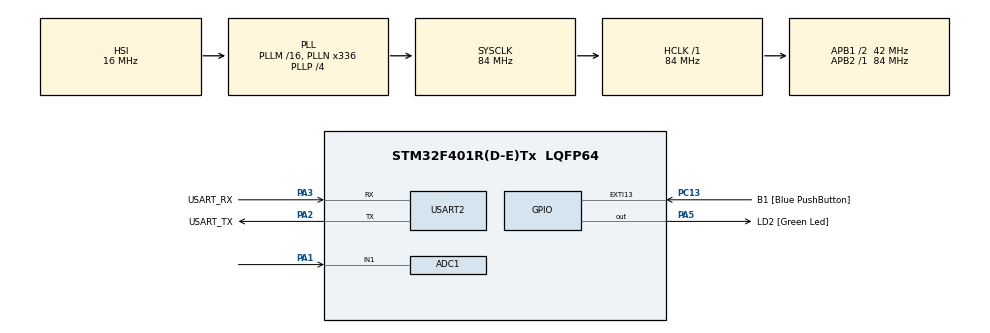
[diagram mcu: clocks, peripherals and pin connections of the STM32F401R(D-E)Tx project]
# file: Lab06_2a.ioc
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ADC1.Channel-0\#ChannelRegularConversion=ADC_CHANNEL_1
ADC1.NbrOfConversionFlag=1
ADC1.Rank-0\#ChannelRegularConversion=1
ADC1.SamplingTime-0\#ChannelRegularConversion=ADC_SAMPLETIME_480CYCLES
ADC1.master=1
Dma.Request0=USART2_TX
Dma.USART2_TX.0.Direction=DMA_MEMORY_TO_PERIPH
Dma.USART2_TX.0.FIFOMode=DMA_FIFOMODE_DISABLE
Dma.USART2_TX.0.Instance=DMA1_Stream6
Dma.USART2_TX.0.MemDataAlignment=DMA_MDATAALIGN_BYTE
Dma.USART2_TX.0.MemInc=DMA_MINC_ENABLE
Dma.USART2_TX.0.Mode=DMA_NORMAL
Dma.USART2_TX.0.PeriphDataAlignment=DMA_PDATAALIGN_BYTE
Dma.USART2_TX.0.PeriphInc=DMA_PINC_DISABLE
Dma.USART2_TX.0.Priority=DMA_PRIORITY_LOW
Mcu.Family=STM32F4
Mcu.Name=STM32F401R(D-E)Tx
Mcu.Package=LQFP64
NVIC.ADC_IRQn=true\:0\:0\:false\:false\:true\:true\:true\:true
NVIC.DMA1_Stream6_IRQn=true\:0\:0\:false\:false\:true\:false\:true\:true
NVIC.PriorityGroup=NVIC_PRIORITYGROUP_4
NVIC.TIM2_IRQn=true\:0\:0\:false\:false\:true\:true\:true\:true
NVIC.USART2_IRQn=true\:0\:0\:false\:false\:true\:true\:true\:true
PA1.Signal=ADCx_IN1
PA13.GPIO_Label=TMS
PA13.Mode=Trace_Asynchronous_SW
PA13.Signal=SYS_JTMS-SWDIO
PA14.GPIO_Label=TCK
PA14.Mode=Trace_Asynchronous_SW
PA14.Signal=SYS_JTCK-SWCLK
PA2.GPIO_Label=USART_TX
PA2.GPIO_Mode=GPIO_MODE_AF_PP
PA2.GPIO_PuPd=GPIO_NOPULL
PA2.GPIO_Speed=GPIO_SPEED_FREQ_LOW
PA2.Mode=Asynchronous
PA2.Signal=USART2_TX
PA3.GPIO_Label=USART_RX
PA3.GPIO_Mode=GPIO_MODE_AF_PP
PA3.GPIO_PuPd=GPIO_NOPULL
PA3.GPIO_Speed=GPIO_SPEED_FREQ_LOW
PA3.Mode=Asynchronous
PA3.Signal=USART2_RX
PA5.GPIO_Label=LD2 [Green Led]
PA5.GPIO_Mode=GPIO_MODE_OUTPUT_PP
PA5.GPIO_PuPd=GPIO_NOPULL
PA5.GPIO_Speed=GPIO_SPEED_FREQ_LOW
PA5.Signal=GPIO_Output
PB3.GPIO_Label=SWO
PB3.Mode=Trace_Asynchronous_SW
PB3.Signal=SYS_JTDO-SWO
PC13-ANTI_TAMP.GPIO_Label=B1 [Blue PushButton]
PC13-ANTI_TAMP.GPIO_ModeDefaultEXTI=GPIO_MODE_IT_FALLING
PC13-ANTI_TAMP.GPIO_PuPd=GPIO_NOPULL
PC13-ANTI_TAMP.Signal=GPXTI13
PC14-OSC32_IN.Mode=LSE-External-Oscillator
PC14-OSC32_IN.Signal=RCC_OSC32_IN
PC15-OSC32_OUT.Mode=LSE-External-Oscillator
PC15-OSC32_OUT.Signal=RCC_OSC32_OUT
PH0\ -\ OSC_IN.Mode=HSE-External-Clock-Source
PH0\ -\ OSC_IN.Signal=RCC_OSC_IN
PH1\ -\ OSC_OUT.Mode=HSE-External-Clock-Source
PH1\ -\ OSC_OUT.Signal=RCC_OSC_OUT
ProjectManager.HeapSize=0x200
ProjectManager.StackSize=0x400
ProjectManager.TargetToolchain=STM32CubeIDE
RCC.48MHZClocksFreq_Value=48000000
RCC.AHBFreq_Value=84000000
RCC.APB1CLKDivider=RCC_HCLK_DIV2
RCC.APB1Freq_Value=42000000
RCC.APB1TimFreq_Value=84000000
RCC.APB2Freq_Value=84000000
RCC.APB2TimFreq_Value=84000000
RCC.CortexFreq_Value=84000000
RCC.HCLKFreq_Value=84000000
RCC.HSE_VALUE=8000000
RCC.HSI_VALUE=16000000
RCC.PLLN=336
RCC.PLLP=RCC_PLLP_DIV4
RCC.PLLQ=7
RCC.SYSCLKFreq_VALUE=84000000
RCC.SYSCLKSource=RCC_SYSCLKSOURCE_PLLCLK
RCC.VCOOutputFreq_Value=336000000
SH.ADCx_IN1.0=ADC1_IN1,IN1
TIM2.Period=839999
TIM2.Prescaler=99
USART2.VirtualMode=VM_ASYNC
VP_TIM2_VS_ClockSourceINT.Mode=Internal
board=NUCLEO-F401RE

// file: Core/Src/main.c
/* USER CODE BEGIN Header */
/**
  ******************************************************************************
  * @file           : main.c
  * @brief          : Main program body
  ******************************************************************************
  * @attention
  *
  * Copyright (c) 2026 STMicroelectronics.
  * All rights reserved.
  *
  * This software is licensed under terms that can be found in the LICENSE file
  * in the root directory of this software component.
  * If no LICENSE file comes with this software, it is provided AS-IS.
  *
  ******************************************************************************
  */
/* USER CODE END Header */
#include "main.h"

/* USER CODE BEGIN Includes */
#include "stdio.h"
#include "string.h"

/* USER CODE END Includes */

ADC_HandleTypeDef hadc1;

TIM_HandleTypeDef htim2;

UART_HandleTypeDef huart2;
DMA_HandleTypeDef hdma_usart2_tx;

/* USER CODE BEGIN PV */
uint32_t adc_value=0;
float voltage=0.0;
uint8_t tx_buf[32];
int len;
/* USER CODE END PV */

void SystemClock_Config(void);
static void MX_GPIO_Init(void);
static void MX_DMA_Init(void);
static void MX_USART2_UART_Init(void);
static void MX_ADC1_Init(void);
static void MX_TIM2_Init(void);

/* USER CODE BEGIN 0 */
void HAL_TIM_PeriodElapsedCallback(TIM_HandleTypeDef *htim)
{
	if(htim->Instance == TIM2){
		len = sprintf((char*)tx_buf, "Potentiometer: %.2f V\r\n", voltage);
		HAL_UART_Transmit_DMA(&huart2, tx_buf, len);

		// Riarmare l'ADC
		HAL_ADC_Start_IT(&hadc1);
	}
}

void HAL_ADC_ConvCpltCallback(ADC_HandleTypeDef *hadc)
{
    // Quando arriva l'EoC aggiorniamo il valore
	adc_value = HAL_ADC_GetValue(hadc);
	voltage = ((float)adc_value * 3.3f) / 4095.0f;
}

/* USER CODE END 0 */

int main(void)
{

  /* MCU Configuration--------------------------------------------------------*/

  /* Reset of all peripherals, Initializes the Flash interface and the Systick. */
  HAL_Init();

  /* Configure the system clock */
  SystemClock_Config();

  /* Initialize all configured peripherals */
  MX_GPIO_Init();
  MX_DMA_Init();
  MX_USART2_UART_Init();
  MX_ADC1_Init();
  MX_TIM2_Init();
  /* USER CODE BEGIN 2 */
  HAL_TIM_Base_Start_IT(&htim2);
  HAL_ADC_Start_IT(&hadc1);

  /* USER CODE END 2 */

  /* Infinite loop */
  while (1)
  {

  }
}

void SystemClock_Config(void)
{
  RCC_OscInitTypeDef RCC_OscInitStruct = {0};
  RCC_ClkInitTypeDef RCC_ClkInitStruct = {0};

  /** Configure the main internal regulator output voltage
  */
  __HAL_RCC_PWR_CLK_ENABLE();
  __HAL_PWR_VOLTAGESCALING_CONFIG(PWR_REGULATOR_VOLTAGE_SCALE2);

  /** Initializes the RCC Oscillators according to the specified parameters
  * in the RCC_OscInitTypeDef structure.
  */
  RCC_OscInitStruct.OscillatorType = RCC_OSCILLATORTYPE_HSI;
  RCC_OscInitStruct.HSIState = RCC_HSI_ON;
  RCC_OscInitStruct.HSICalibrationValue = RCC_HSICALIBRATION_DEFAULT;
  RCC_OscInitStruct.PLL.PLLState = RCC_PLL_ON;
  RCC_OscInitStruct.PLL.PLLSource = RCC_PLLSOURCE_HSI;
  RCC_OscInitStruct.PLL.PLLM = 16;
  RCC_OscInitStruct.PLL.PLLN = 336;
  RCC_OscInitStruct.PLL.PLLP = RCC_PLLP_DIV4;
  RCC_OscInitStruct.PLL.PLLQ = 7;
  if (HAL_RCC_OscConfig(&RCC_OscInitStruct) != HAL_OK)
  {
    Error_Handler();
  }

  /** Initializes the CPU, AHB and APB buses clocks
  */
  RCC_ClkInitStruct.ClockType = RCC_CLOCKTYPE_HCLK|RCC_CLOCKTYPE_SYSCLK
                              |RCC_CLOCKTYPE_PCLK1|RCC_CLOCKTYPE_PCLK2;
  RCC_ClkInitStruct.SYSCLKSource = RCC_SYSCLKSOURCE_PLLCLK;
  RCC_ClkInitStruct.AHBCLKDivider = RCC_SYSCLK_DIV1;
  RCC_ClkInitStruct.APB1CLKDivider = RCC_HCLK_DIV2;
  RCC_ClkInitStruct.APB2CLKDivider = RCC_HCLK_DIV1;

  if (HAL_RCC_ClockConfig(&RCC_ClkInitStruct, FLASH_LATENCY_2) != HAL_OK)
  {
    Error_Handler();
  }
}

static void MX_ADC1_Init(void)
{

  ADC_ChannelConfTypeDef sConfig = {0};

  /** Configure the global features of the ADC (Clock, Resolution, Data Alignment and number of conversion)
  */
  hadc1.Instance = ADC1;
  hadc1.Init.ClockPrescaler = ADC_CLOCK_SYNC_PCLK_DIV4;
  hadc1.Init.Resolution = ADC_RESOLUTION_12B;
  hadc1.Init.ScanConvMode = DISABLE;
  hadc1.Init.ContinuousConvMode = DISABLE;
  hadc1.Init.DiscontinuousConvMode = DISABLE;
  hadc1.Init.ExternalTrigConvEdge = ADC_EXTERNALTRIGCONVEDGE_NONE;
  hadc1.Init.ExternalTrigConv = ADC_SOFTWARE_START;
  hadc1.Init.DataAlign = ADC_DATAALIGN_RIGHT;
  hadc1.Init.NbrOfConversion = 1;
  hadc1.Init.DMAContinuousRequests = DISABLE;
  hadc1.Init.EOCSelection = ADC_EOC_SINGLE_CONV;
  if (HAL_ADC_Init(&hadc1) != HAL_OK)
  {
    Error_Handler();
  }

  /** Configure for the selected ADC regular channel its corresponding rank in the sequencer and its sample time.
  */
  sConfig.Channel = ADC_CHANNEL_1;
  sConfig.Rank = 1;
  sConfig.SamplingTime = ADC_SAMPLETIME_480CYCLES;
  if (HAL_ADC_ConfigChannel(&hadc1, &sConfig) != HAL_OK)
  {
    Error_Handler();
  }

}

static void MX_TIM2_Init(void)
{

  TIM_ClockConfigTypeDef sClockSourceConfig = {0};
  TIM_MasterConfigTypeDef sMasterConfig = {0};

  htim2.Instance = TIM2;
  htim2.Init.Prescaler = 99;
  htim2.Init.CounterMode = TIM_COUNTERMODE_UP;
  htim2.Init.Period = 839999;
  htim2.Init.ClockDivision = TIM_CLOCKDIVISION_DIV1;
  htim2.Init.AutoReloadPreload = TIM_AUTORELOAD_PRELOAD_DISABLE;
  if (HAL_TIM_Base_Init(&htim2) != HAL_OK)
  {
    Error_Handler();
  }
  sClockSourceConfig.ClockSource = TIM_CLOCKSOURCE_INTERNAL;
  if (HAL_TIM_ConfigClockSource(&htim2, &sClockSourceConfig) != HAL_OK)
  {
    Error_Handler();
  }
  sMasterConfig.MasterOutputTrigger = TIM_TRGO_RESET;
  sMasterConfig.MasterSlaveMode = TIM_MASTERSLAVEMODE_DISABLE;
  if (HAL_TIMEx_MasterConfigSynchronization(&htim2, &sMasterConfig) != HAL_OK)
  {
    Error_Handler();
  }

}

static void MX_USART2_UART_Init(void)
{

  huart2.Instance = USART2;
  huart2.Init.BaudRate = 115200;
  huart2.Init.WordLength = UART_WORDLENGTH_8B;
  huart2.Init.StopBits = UART_STOPBITS_1;
  huart2.Init.Parity = UART_PARITY_NONE;
  huart2.Init.Mode = UART_MODE_TX_RX;
  huart2.Init.HwFlowCtl = UART_HWCONTROL_NONE;
  huart2.Init.OverSampling = UART_OVERSAMPLING_16;
  if (HAL_UART_Init(&huart2) != HAL_OK)
  {
    Error_Handler();
  }

}

static void MX_DMA_Init(void)
{

  /* DMA controller clock enable */
  __HAL_RCC_DMA1_CLK_ENABLE();

  /* DMA interrupt init */
  /* DMA1_Stream6_IRQn interrupt configuration */
  HAL_NVIC_SetPriority(DMA1_Stream6_IRQn, 0, 0);
  HAL_NVIC_EnableIRQ(DMA1_Stream6_IRQn);

}

static void MX_GPIO_Init(void)
{
  GPIO_InitTypeDef GPIO_InitStruct = {0};

  /* GPIO Ports Clock Enable */
  __HAL_RCC_GPIOC_CLK_ENABLE();
  __HAL_RCC_GPIOH_CLK_ENABLE();
  __HAL_RCC_GPIOA_CLK_ENABLE();
  __HAL_RCC_GPIOB_CLK_ENABLE();

  /*Configure GPIO pin Output Level */
  HAL_GPIO_WritePin(LD2_GPIO_Port, LD2_Pin, GPIO_PIN_RESET);

  /*Configure GPIO pin : B1_Pin */
  GPIO_InitStruct.Pin = B1_Pin;
  GPIO_InitStruct.Mode = GPIO_MODE_IT_FALLING;
  GPIO_InitStruct.Pull = GPIO_NOPULL;
  HAL_GPIO_Init(B1_GPIO_Port, &GPIO_InitStruct);

  /*Configure GPIO pin : LD2_Pin */
  GPIO_InitStruct.Pin = LD2_Pin;
  GPIO_InitStruct.Mode = GPIO_MODE_OUTPUT_PP;
  GPIO_InitStruct.Pull = GPIO_NOPULL;
  GPIO_InitStruct.Speed = GPIO_SPEED_FREQ_LOW;
  HAL_GPIO_Init(LD2_GPIO_Port, &GPIO_InitStruct);

}

void Error_Handler(void)
{
  __disable_irq();
  while (1)
  {
  }
}
